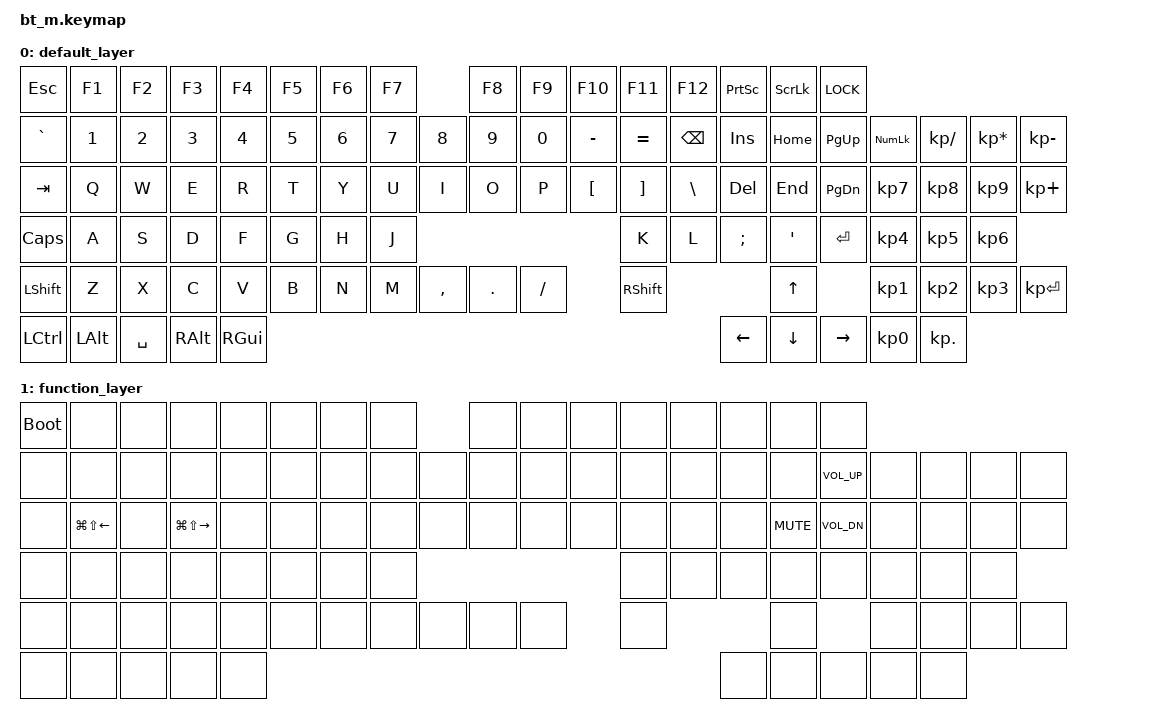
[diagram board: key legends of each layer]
/*
 * Copyright (c) 2020 The ZMK Contributors
 *
 * SPDX-License-Identifier: MIT
 */

#include <behaviors.dtsi>
#include <dt-bindings/zmk/keys.h>
#include <dt-bindings/zmk/backlight.h>
#include <dt-bindings/zmk/bt.h>
#include <dt-bindings/zmk/ext_power.h>
#include <dt-bindings/zmk/outputs.h>
#include <dt-bindings/zmk/rgb.h>


/*
 * Layers
 */

#define LY_DEFAULT 0
#define LY_FUNC    1

/*
 * Shortcuts
 */

#define KP_SCR_PRV &kp LG(LS(LEFT))
#define KP_SCR_NXT &kp LG(LS(RIGHT))

/ {
    keymap0: keymap {
        compatible = "zmk,keymap";

        default_layer {
            bindings = <
&kp ESC    &kp F1  &kp F2  &kp F3  &kp F4     &kp F5  &kp F6  &kp F7  &kp F8      &kp F9  &kp F10  &kp F11   &kp F12       &kp PSCRN  &kp SLCK    &kp K_LOCK
&kp GRAVE  &kp N1    &kp N2 &kp N3 &kp N4 &kp N5 &kp N6 &kp N7 &kp N8    &kp N9  &kp N0   &kp MINUS &kp EQUAL &kp BSPC     &kp INS    &kp HOME    &kp PG_UP       &kp KP_NUM &kp KP_SLASH &kp KP_MULTIPLY &kp KP_MINUS
&kp TAB    &kp Q     &kp W  &kp E  &kp R  &kp T  &kp Y  &kp U  &kp I     &kp  O  &kp   P  &kp LBKT  &kp RBKT  &kp BSLH     &kp DEL    &kp END     &kp PG_DN       &kp KP_N7  &kp KP_N8    &kp KP_N9       &kp KP_PLUS
&kp CAPS   &kp A     &kp S  &kp D  &kp F  &kp G  &kp H  &kp J  &kp K     &kp  L  &kp SEMI &kp SQT           &kp RET                                               &kp KP_N4  &kp KP_N5    &kp KP_N6
&kp LSHFT  &kp Z     &kp X  &kp C  &kp V  &kp B  &kp N  &kp M  &kp COMMA &kp DOT &kp FSLH         &kp RSHFT                           &kp UP                      &kp KP_N1  &kp KP_N2    &kp KP_N3       &kp KP_ENTER
&kp LCTRL          &kp LALT               &kp SPACE                                         &kp RALT          &kp RGUI     &kp LEFT   &kp DOWN    &kp RIGHT       &kp KP_N0  &kp KP_DOT
            >;
        };

        
        function_layer {
            bindings = <
&bootloader  &none  &none  &none  &none       &none  &none  &none  &none      &none  &none  &none   &none       &none  &none  &none
&none        &none     &none    &none  &none  &none  &none  &none  &none  &none  &none  &none  &none  &none     &none  &none  &kp C_VOL_UP &none  &none  &none  &none
&none      KP_SCR_PRV  &none KP_SCR_NXT &none &none  &none  &none  &none  &none  &none  &none  &none  &none  &none &kp C_MUTE &kp C_VOL_DN &none  &none  &none  &none
&none        &none     &none    &none  &none  &none  &none  &none  &none  &none  &none  &none         &none                                &none  &none  &none
&none        &none     &none    &none  &none  &none  &none  &none  &none  &none  &none         &none                   &none               &none  &none  &none  &none
&none                   &none                 &none                                    &none          &none     &none  &none  &none        &none  &none
            >;
        };

    };
};
